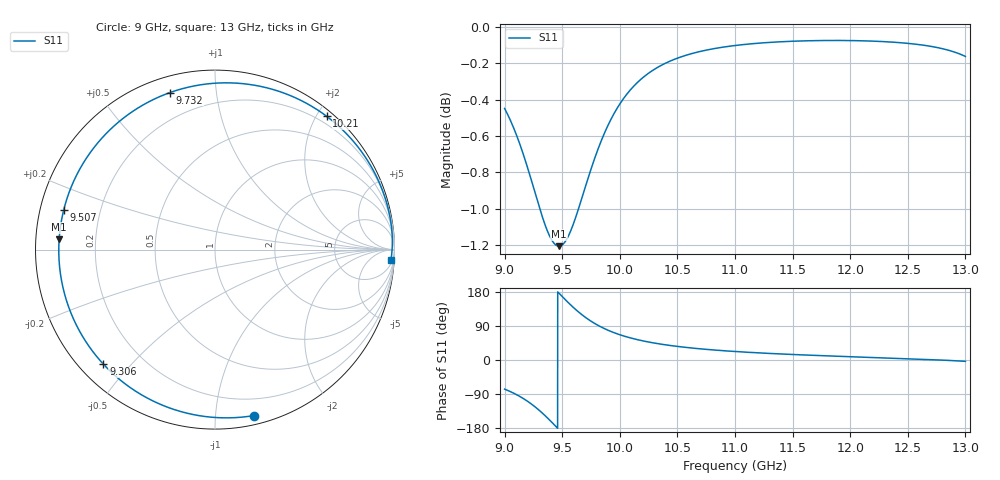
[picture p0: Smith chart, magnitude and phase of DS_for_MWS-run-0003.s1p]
! TOUCHSTONE file generated by CST DESIGN STUDIO
! Date and time: Tue Feb  4 16:05:09 2025
! Project name: C:\Work\MatlabApps\UnitCellOptimizationMatlab\CST\unitcell.cst
! Tree item: Tasks\Sweep1\SPara1\S-Parameters
! Header version: 2024
! Port assignment regex: !\s*Touchstone port\s*([0-9]+)\s*=\s*(CST MWS port|CST DES external port|CST DES block port)\s*(.+)\s* \(\"(.*)\"\)(\s*mode\s*([0-9]+))?.*
! Touchstone port assignment:
! Touchstone port 1 = CST DES external port 1 ("")
# GHz S MA R 50
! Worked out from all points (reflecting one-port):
!   4001 points, 9 GHz to 13 GHz, reference 50 ohm
!   lowest |S11| = -1.2 dB at 9.472 GHz (marker M1), VSWR 14.42, Z = 3.47 + j1.62 ohm
!   phase of S11 starts at -77 deg and turns -287 deg over the sweep
!   S11 on the Smith chart (normalised r, x): 9 GHz: 0.07, -1.26; 9.306 GHz: 0.07, -0.42; 9.507 GHz: 0.07, +0.13; 9.732 GHz: 0.07, +0.75; 10.21 GHz: 0.09, +2.14; 13 GHz: 9, -30
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9  0.9497 -76.9
9.075  0.9386 -87.0
9.173  0.9203 -103.7
9.242  0.9053 -118.3
9.306  0.8911 -134.2
9.349  0.8826 -146.1
9.395  0.8754 -159.7
9.434  0.8715 -171.8
9.472  0.8703 176.3
9.5  0.871 167.5
9.507  0.8714 165.3
9.559  0.8766 149.5
9.621  0.8871 132.1
9.675  0.8981 118.6
9.732  0.9102 106.0
9.844  0.9313 86.1
9.92  0.9428 75.7
10  0.9524 66.7
10.098  0.9615 57.8
10.207  0.9689 50.0
10.342  0.9754 42.5
10.5  0.9805 35.8
10.722  0.9851 28.8
11  0.9884 22.4
11.5  0.9911 14.5
12  0.9915 8.7
12.5  0.9898 3.4
13  0.9816 -3.5
